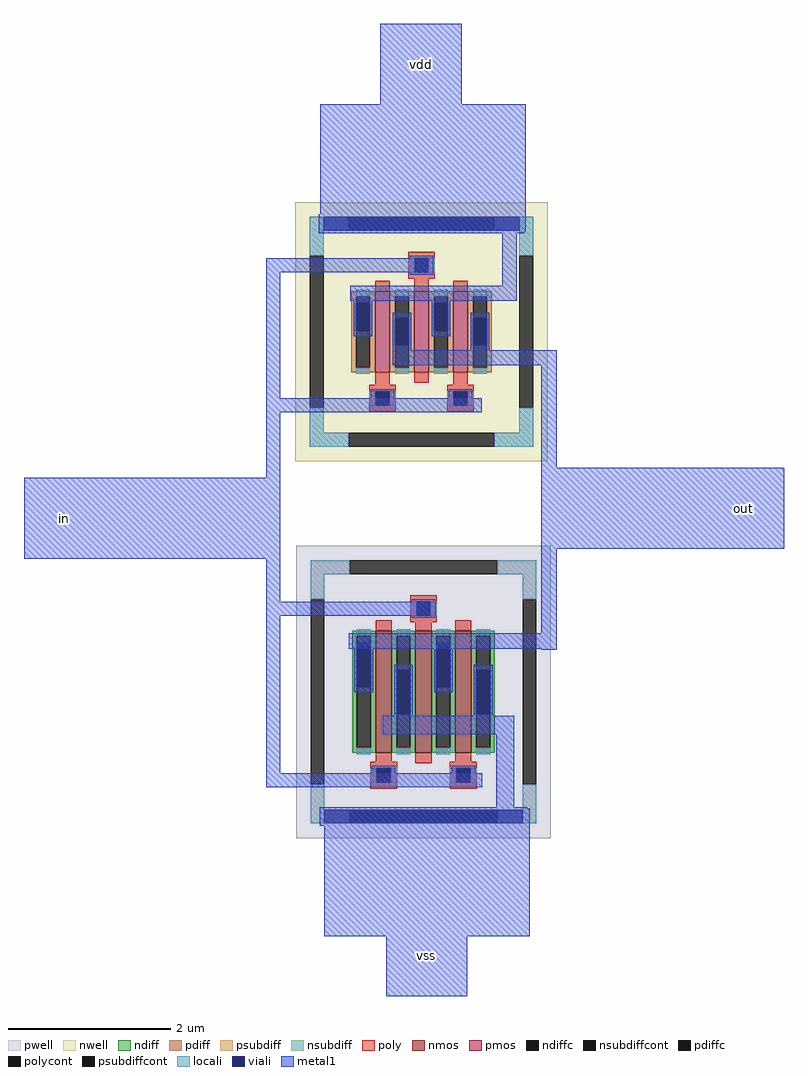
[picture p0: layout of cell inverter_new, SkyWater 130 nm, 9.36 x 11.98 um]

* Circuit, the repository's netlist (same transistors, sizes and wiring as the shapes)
** sch_path: /home/darunix/VSDIAT_Courses/PV_Sky130/inverter_new/xschem/inverter_new.sch
.subckt inverter_new in vdd vss out
*.PININFO in:I vdd:B vss:B out:O
XM2 out in vdd vdd sky130_fd_pr__pfet_01v8 L=0.18 W=3 nf=3 ad='int((nf+1)/2) * W/nf * 0.29' as='int((nf+2)/2) * W/nf * 0.29'
+ pd='2*int((nf+1)/2) * (W/nf + 0.29)' ps='2*int((nf+2)/2) * (W/nf + 0.29)' nrd='0.29 / W' nrs='0.29 / W'
+ sa=0 sb=0 sd=0 mult=1 m=1
XM1 out in vss vss sky130_fd_pr__nfet_01v8 L=0.2 W=4.5 nf=1 ad='int((nf+1)/2) * W/nf * 0.29' as='int((nf+2)/2) * W/nf * 0.29'
+ pd='2*int((nf+1)/2) * (W/nf + 0.29)' ps='2*int((nf+2)/2) * (W/nf + 0.29)' nrd='0.29 / W' nrs='0.29 / W'
+ sa=0 sb=0 sd=0 mult=1 m=1
.ends
.end

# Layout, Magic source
magic
tech sky130A
magscale 1 2
<< metal1 >>
rect 1046 1278 1246 1476
rect 898 964 1404 1278
rect 765 864 1176 898
rect 765 553 799 864
rect 1346 830 1382 964
rect 972 794 1382 830
rect 1076 634 1480 672
rect 765 519 1295 553
rect 765 358 799 519
rect 168 158 799 358
rect 765 52 799 158
rect 1442 382 1480 634
rect 1442 182 2040 382
rect 765 18 1182 52
rect 765 -371 799 18
rect 1442 -26 1480 182
rect 968 -64 1480 -26
rect 1442 -66 1480 -64
rect 1052 -274 1376 -229
rect 765 -405 1297 -371
rect 1331 -458 1376 -274
rect 908 -772 1414 -458
rect 1060 -920 1260 -772
use sky130_fd_pr__pfet_01v8_6LLYWG  XM2
transform 1 0 1147 0 1 717
box -311 -319 311 319
use sky130_fd_pr__nfet_01v8_92B3AB  XM1
transform 1 0 1152 0 1 -170
box -314 -360 314 360
<< labels >>
flabel metal1 1840 182 2040 382 0 FreeSans 256 0 0 0 out
port 3 nsew
flabel metal1 168 158 368 358 0 FreeSans 256 0 0 0 in
port 0 nsew
flabel metal1 1060 -920 1260 -720 0 FreeSans 256 0 0 0 vss
port 2 nsew
flabel metal1 1046 1276 1246 1476 0 FreeSans 256 0 0 0 vdd
port 1 nsew
<< end >>

# cell sky130_fd_pr__pfet_01v8_6LLYWG: kit device sky130_fd_pr__pfet_01v8, w 1.0 l 0.18 m 1 nf 3 diffcov 100 polycov 100 guard 1 glc 1 grc 1 gtc 1 gbc 1 tbcov 100 rlcov 100 topc 1 botc 1 poverlap 0 doverlap 1 lmin 0.15 wmin 0.42 compatible {sky130_fd_pr__pfet_01v8 sky130_fd_pr__pfet_01v8_lvt sky130_fd_pr__pfet_01v8_hvt sky130_fd_pr__pfet_g5v0d10v5} full_metal 1 viasrc 40 viadrn -40 viagate 100 viagb 0 viagr 0 viagl 0 viagt 100

# cell sky130_fd_pr__nfet_01v8_92B3AB: kit device sky130_fd_pr__nfet_01v8, w 1.5 l 0.2 m 1 nf 3 diffcov 100 polycov 100 guard 1 glc 1 grc 1 gtc 1 gbc 1 tbcov 100 rlcov 100 topc 1 botc 1 poverlap 0 doverlap 1 lmin 0.15 wmin 0.42 compatible {sky130_fd_pr__nfet_01v8 sky130_fd_pr__nfet_01v8_lvt sky130_fd_bs_flash__special_sonosfet_star sky130_fd_pr__nfet_g5v0d10v5 sky130_fd_pr__nfet_05v0_nvt sky130_fd_pr__nfet_03v3_nvt} full_metal 1 viasrc 40 viadrn -40 viagate 100 viagb 100 viagr 0 viagl 0 viagt 0
